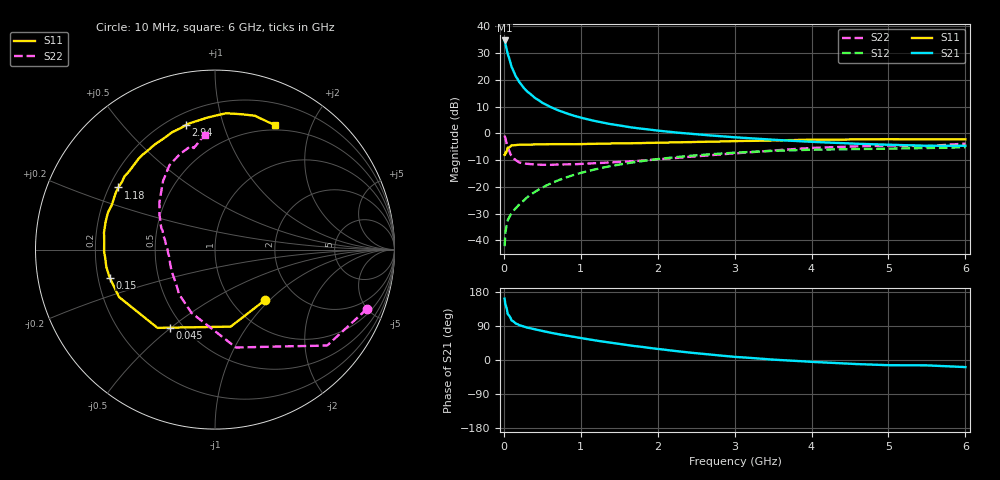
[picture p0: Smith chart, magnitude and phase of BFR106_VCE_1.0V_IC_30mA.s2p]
! Infineon Technologies  Discrete & RF Semiconductors
! BFR106
! VCE =  1.0 V,  IC =  30 mA
! Common Emitter S-Parameters:  Nov 2015
# GHz  S  MA  R  50
!  f  S11  S21  S12  S22
! GHz  MAG  ANG  MAG  ANG  MAG  ANG  MAG  ANG
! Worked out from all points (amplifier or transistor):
!   210 points, 10 MHz to 6 GHz, reference 50 ohm
!   highest |S21| = 34.7 dB at 10 MHz (marker M1)
!   |S21| within 3 dB of that: start of sweep to 34.69 MHz
!   unconditionally stable (mu >= 1): 268.7 MHz to 3.955 GHz; 4.033 GHz to end of sweep
!   at 185 MHz: K = 0.89, MSG = 23.5 dB, |S12| = -27.1 dB
!   at 1.52 GHz: K = 1.07, MAG = 5.6 dB, |S12| = -11.6 dB
!   at 6 GHz: K = 1.02, MAG = -0.6 dB, |S12| = -5.2 dB
!   S11 on the Smith chart (normalised r, x): 10 MHz: 1.42, -0.94; 45 MHz: 0.43, -0.50; 150 MHz: 0.25, -0.12; 1.18 GHz: 0.24, +0.28; 2.94 GHz: 0.27, +0.76; 6 GHz: 0.44, +1.50
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0.01  0.3963 -44.9  54.45 161.7  0.0078 76.5  0.909 -21.3
0.02  0.438 -78.5  48.05 147.3  0.0139 66.6  0.8224 -40.5
0.045  0.5029 -120.1  32.88 127.5  0.0221 53.2  0.5797 -69.6
0.05  0.5411 -126.3  30.59 121.4  0.0238 51.7  0.5578 -77.9
0.1  0.5964 -153.7  17.5 104.6  0.032 51.5  0.3762 -110.3
0.15  0.6072 -165.1  11.98 96.9  0.0392 54.7  0.3199 -128.5
0.2  0.6131 -170.9  9.132 92.1  0.0467 58.5  0.2875 -139.3
0.26  0.614 -176.3  7.067 87.9  0.0562 61.3  0.2736 -149.4
0.3  0.618 -178.9  6.123 85.7  0.0632 63.1  0.2699 -153.7
0.4  0.6191 175.5  4.642 80.9  0.08 65.0  0.2624 -162.2
0.5  0.6257 171.3  3.736 76.5  0.097 65.7  0.2589 -167.9
0.6  0.6283 166.8  3.14 72.3  0.1141 65.5  0.2585 -171.5
0.8  0.6311 160.5  2.4 64.8  0.1485 63.8  0.2637 -178.3
1.02  0.6326 152.5  1.933 57.3  0.1854 61.1  0.2689 176.5
1.18  0.6397 147.2  1.708 52.0  0.2111 58.6  0.2765 172.8
1.6  0.6508 135.3  1.328 39.6  0.2756 51.7  0.2987 164.4
2.02  0.6664 124.3  1.119 28.8  0.333 44.4  0.33 156.1
2.94  0.7123 103.1  0.858 9.5  0.43 28.7  0.4166 137.4
3.1  0.7196 100.1  0.827 7.0  0.442 26.1  0.4325 134.3
4.1  0.7626 84.1  0.685 -5.9  0.4968 11.3  0.5398 116.7
5.1  0.7759 72.3  0.607 -13.8  0.5202 -0.0  0.5897 102.8
6  0.7713 64.2  0.586 -18.7  0.5518 -8.7  0.6435 95.1
